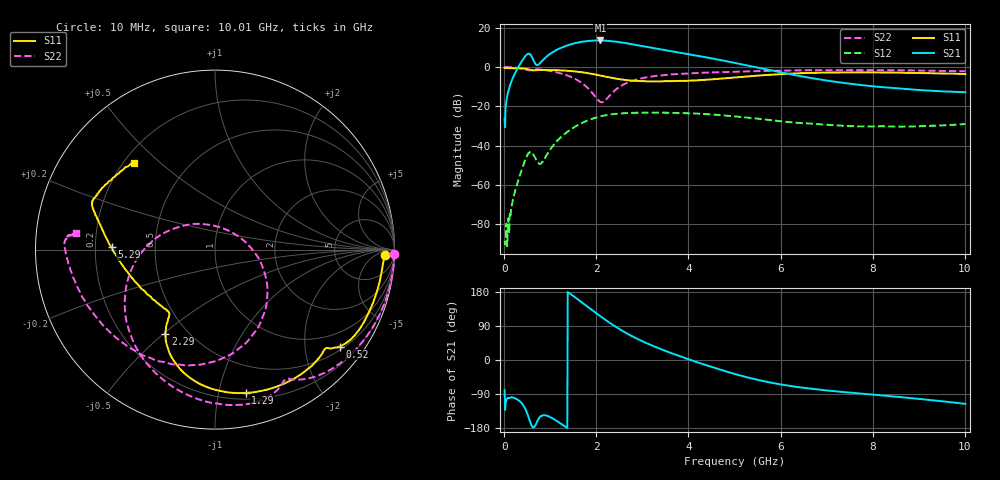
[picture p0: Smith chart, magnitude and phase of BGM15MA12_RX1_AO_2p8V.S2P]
!Agilent Technologies,E5071C,MY46317100,A.11.08
!Date: Fri Dec 19 16:16:12 2014
!Data & Calibration Information:
!Freq	S11:SOLT2(ON)	S21:SOLT2(ON)	S12:SOLT2(ON)	S22:SOLT2(ON)
!PortZ  Port1:50+j0  Port2:50+j0
!Above PortZ is port z conversion or system Z0 setting when saving the data.
!When reading, reference impedance value at option line is always used.
# Hz S RI R 50
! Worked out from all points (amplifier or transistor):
!   1001 points, 10 MHz to 10.01 GHz, reference 50 ohm
!   highest |S21| = 13.6 dB at 2.09 GHz (marker M1)
!   |S21| within 3 dB of that: 1.315 GHz to 3.035 GHz (1.72 GHz wide, 79.1 % of centre)
!   unconditionally stable (mu >= 1): start of sweep to end of sweep
!   at 1.67 GHz: K = 1.55, MAG = 16.4 dB, |S12| = -28.7 dB
!   at 5.01 GHz: K = 2.35, MAG = 7.1 dB, |S12| = -25.1 dB
!   at 10.01 GHz: K = 14.04, MAG = -6.4 dB, |S12| = -29.1 dB
!   lowest NFmin = 1.00 dB at 1.45 GHz
!   S11 on the Smith chart (normalised r, x): 10 MHz: 29, -17; 520 MHz: 0.59, -2.80; 1.29 GHz: 0.25, -1.20; 2.29 GHz: 0.38, -0.51; 5.29 GHz: 0.27, +0.01; 10.01 GHz: 0.24, +0.41
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1e7  0.9493 -0.0289  0.00865 -0.0472  1.47e-05 3.4e-05  0.9994 -0.0225
1.2e8  0.9252 -0.1404  -0.056 -0.315  -0.00014 8.64e-05  0.958 -0.2602
3.2e8  0.8547 -0.3556  -0.3108 -1.015  -0.00146 0.000145  0.7254 -0.6112
4.4e8  0.7777 -0.4782  -1.005 -1.452  -0.00361 0.00126  0.5211 -0.7177
5.2e8  0.6941 -0.54  -1.836 -1.174  -0.00462 0.00417  0.4119 -0.72
6.4e8  0.612 -0.5543  -1.449 -0.0572  -0.000503 0.00577  0.3251 -0.8018
7.9e8  0.5497 -0.6364  -1.11 -0.6741  -0.00164 0.00303  0.0646 -0.865
1.03e9  0.3804 -0.7494  -2.042 -1.053  -0.00758 0.0048  -0.2812 -0.7312
1.29e9  0.17 -0.7982  -3.269 -0.414  -0.0134 0.0131  -0.4801 -0.4468
1.49e9  0.0141 -0.7837  -3.875 0.6979  -0.015 0.0235  -0.4937 -0.2016
1.68e9  -0.1143 -0.7312  -3.901 2.019  -0.0119 0.0352  -0.3966 -0.000721
1.87e9  -0.2065 -0.6508  -3.314 3.292  -0.0034 0.0462  -0.2189 0.1204
2.09e9  -0.2627 -0.5478  -2.037 4.304  0.0119 0.0543  0.0157 0.1277
2.29e9  -0.2762 -0.4686  -0.6513 4.57  0.0275 0.055  0.1855 0.0263
2.78e9  -0.2554 -0.3679  1.77 3.389  0.0564 0.0381  0.2758 -0.3491
3.35e9  -0.281 -0.3291  2.472 1.492  0.0679 0.0106  0.0456 -0.6032
4.15e9  -0.3936 -0.2299  1.975 -0.1483  0.0619 -0.0221  -0.3493 -0.608
5.01e9  -0.5396 -0.0521  1.018 -0.7687  0.0389 -0.0394  -0.654 -0.3856
5.29e9  -0.5766 0.0124  0.7585 -0.7862  0.0316 -0.0406  -0.7142 -0.306
6.68e9  -0.6753 0.2186  0.1254 -0.5067  0.0121 -0.034  -0.83 -0.0246
8.35e9  -0.656 0.3071  -0.0266 -0.2959  0.0059 -0.03  -0.8261 0.0651
1.001e10  -0.4527 0.4844  -0.0995 -0.2057  0.000697 -0.0352  -0.7758 0.092
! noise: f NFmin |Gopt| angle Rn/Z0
1.45e+09  0.9977  0.3878  70.36  0.2077
1.5e+09  0.9997  0.4094  72.5  0.2
1.7e+09  1.019  0.4058  80.13  0.1939
1.85e+09  1.025  0.4353  84.07  0.1813
1.9e+09  1.028  0.4363  86.43  0.1791
2.1e+09  1.04  0.4212  92.17  0.1701
2.3e+09  1.092  0.4263  99.28  0.1635
2.4e+09  1.138  0.4034  98.67  0.1694
2.6e+09  1.162  0.4177  107.6  0.1542
2.75e+09  1.252  0.4055  112  0.1491
